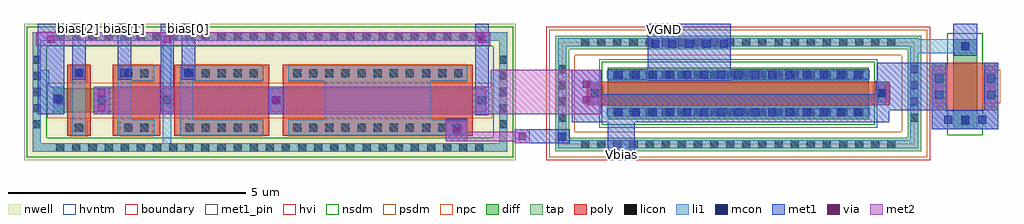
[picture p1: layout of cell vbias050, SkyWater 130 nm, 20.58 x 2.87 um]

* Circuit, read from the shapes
.subckt vbias050 VGND VPWR Vbias bias[0] bias[1] bias[2]
XM1 VGND Vbias Vbias VGND sky130_fd_pr__nfet_g5v0d10v5 w=5.5 l=0.5
XM2 VGND Vbias Vbias VGND sky130_fd_pr__nfet_01v8 w=0.5 l=1
XM3 Vbias bias[2] VPWR VPWR sky130_fd_pr__pfet_01v8 w=0.5 l=0.5
XM4 VPWR bias[1] Vbias VPWR sky130_fd_pr__pfet_01v8 w=0.5 l=1
XM5 Vbias bias[0] VPWR VPWR sky130_fd_pr__pfet_01v8 w=0.5 l=2
XM6 VPWR VGND Vbias VPWR sky130_fd_pr__pfet_01v8 w=0.5 l=4
.ends

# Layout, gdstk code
from math import pi, radians
import gdstk
lib = gdstk.Library(unit=1e-6, precision=1e-09)
def R(c, l, rs):  # rectangles x0, y0, x1, y1
    for r in rs: c.add(gdstk.rectangle(r[:2], r[2:], *l))
def A(c, l, x, y, w, h, nx, ny, dx, dy):  # array of equal rectangles
    R(c, l, [(x+i*dx, y+j*dy, x+i*dx+w, y+j*dy+h) for i in range(nx) for j in range(ny)])
nwell = (64, 20)
diff = (65, 20)
tap = (65, 44)
poly = (66, 20)
licon = (66, 44)
li1 = (67, 20)
mcon = (67, 44)
met1_pin = (68, 16)
met1 = (68, 20)
via = (68, 44)
met2 = (69, 20)
hvi = (75, 20)
nsdm = (93, 44)
psdm = (94, 20)
npc = (95, 20)
hvntm = (125, 20)
boundary = (235, 4)

sky130_fd_pr__nfet_g5v0d = lib.new_cell('sky130_fd_pr__nfet_g5v0d10v5_MBEGV2')
R(sky130_fd_pr__nfet_g5v0d, diff, [(-0.54,-2.75,0.54,2.75)])
R(sky130_fd_pr__nfet_g5v0d, tap, [(-1.22,-3.86,1.22,-3.57), (-1.22,-3.57,-0.93,3.57), (0.93,-3.57,1.22,3.57), (-1.22,3.57,1.22,3.86)])
R(sky130_fd_pr__nfet_g5v0d, poly, [(-0.25,-3.19,0.25,3.19)])
A(sky130_fd_pr__nfet_g5v0d, licon, -0.595, -3.8, 0.17, 0.17, 4, 2, 0.34, 7.43)
A(sky130_fd_pr__nfet_g5v0d, licon, -1.16, -3.315, 0.17, 0.17, 1, 20, 0, 0.34)
A(sky130_fd_pr__nfet_g5v0d, licon, 0.99, -3.315, 0.17, 0.17, 1, 20, 0, 0.34)
A(sky130_fd_pr__nfet_g5v0d, licon, -0.48, -2.635, 0.17, 0.17, 1, 16, 0, 0.34)
A(sky130_fd_pr__nfet_g5v0d, licon, 0.31, -2.635, 0.17, 0.17, 1, 16, 0, 0.34)
R(sky130_fd_pr__nfet_g5v0d, licon, [(-0.085,-3.11,0.085,-2.94), (-0.085,2.94,0.085,3.11)])
R(sky130_fd_pr__nfet_g5v0d, li1, [(-1.16,-3.8,1.16,-3.63), (-1.16,-3.63,-0.99,3.63), (0.99,-3.63,1.16,3.63), (-0.25,-3.11,0.25,-2.94), (-0.48,-2.77,-0.31,2.77), (0.31,-2.77,0.48,2.77), (-0.25,2.94,0.25,3.11), (-1.16,3.63,1.16,3.8)])
A(sky130_fd_pr__nfet_g5v0d, mcon, -0.48, -2.605, 0.17, 0.17, 1, 15, 0, 0.36)
A(sky130_fd_pr__nfet_g5v0d, mcon, 0.31, -2.605, 0.17, 0.17, 1, 15, 0, 0.36)
R(sky130_fd_pr__nfet_g5v0d, mcon, [(-0.085,-3.11,0.085,-2.94), (-0.085,2.94,0.085,3.11)])
R(sky130_fd_pr__nfet_g5v0d, met1, [(-0.23,-3.14,0.23,-2.91), (-0.51,-2.75,-0.28,2.75), (0.28,-2.75,0.51,2.75), (-0.23,2.91,0.23,3.14)])
R(sky130_fd_pr__nfet_g5v0d, hvi, [(-1.405,-4.045,1.405,4.045)])
R(sky130_fd_pr__nfet_g5v0d, nsdm, [(-0.665,-2.875,0.665,2.875)])
R(sky130_fd_pr__nfet_g5v0d, psdm, [(-1.345,-3.985,1.345,-3.445), (-1.345,-3.445,-0.805,3.445), (0.805,-3.445,1.345,3.445), (-1.345,3.445,1.345,3.985)])
R(sky130_fd_pr__nfet_g5v0d, npc, [(-0.185,-3.21,0.185,-2.84), (-0.185,2.84,0.185,3.21)])
R(sky130_fd_pr__nfet_g5v0d, hvntm, [(-0.725,-2.935,0.725,2.935)])
R(sky130_fd_pr__nfet_g5v0d, boundary, [(-1.075,-3.715,1.075,3.715)])
sky130_fd_pr__nfet_g5v0d.add(gdstk.Label('G', (0,3.025), layer=67, texttype=5))
sky130_fd_pr__nfet_g5v0d.add(gdstk.Label('S', (0.395,0), layer=67, texttype=5))
sky130_fd_pr__nfet_g5v0d.add(gdstk.Label('D', (-0.395,0), layer=67, texttype=5))
sky130_fd_pr__nfet_g5v0d.add(gdstk.Label('B', (0,-3.715), layer=67, texttype=5))

vbias050 = lib.new_cell('vbias050')
R(vbias050, nwell, [(0,0,10.37,2.87)])
R(vbias050, diff, [(19.6,0.65,20.1,2.55), (0.62,1.01,9.75,1.51)])
R(vbias050, tap, [(0.18,0.18,10.19,0.35), (0.18,0.35,0.35,2.52), (10.02,0.35,10.19,2.52), (0.18,2.52,10.19,2.69)])
R(vbias050, poly, [(0.91,0.51,1.41,2.01), (1.87,0.51,2.87,2.01), (3.17,0.51,5.17,2.01), (5.46,0.51,9.46,2.01), (19.15,1.05,20.55,2.05)])
A(vbias050, licon, 0.68, 0.18, 0.17, 0.17, 27, 2, 0.34, 2.34)
A(vbias050, licon, 3.405, 0.6, 0.17, 0.17, 5, 2, 0.34, 1.15)
A(vbias050, licon, 5.675, 0.6, 0.17, 0.17, 11, 2, 0.34, 1.15)
A(vbias050, licon, 0.18, 0.67, 0.17, 0.17, 1, 5, 0, 0.34)
A(vbias050, licon, 10.02, 0.67, 0.17, 0.17, 1, 5, 0, 0.34)
R(vbias050, licon, [(1.075,0.6,1.245,0.77), (2.115,0.6,2.285,0.77), (2.455,0.6,2.625,0.77), (19.765,0.74,19.935,0.91), (0.68,1.175,0.85,1.345), (1.555,1.175,1.725,1.345), (2.935,1.175,3.105,1.345), (9.52,1.175,9.69,1.345), (5.23,1.18,5.4,1.35), (19.215,1.295,19.385,1.465), (20.315,1.295,20.485,1.465), (19.215,1.635,19.385,1.805), (20.315,1.635,20.485,1.805), (1.075,1.75,1.245,1.92), (2.115,1.75,2.285,1.92), (2.455,1.75,2.625,1.92), (19.765,2.315,19.935,2.485)])
R(vbias050, li1, [(0.18,0.18,10.19,0.35), (0.18,0.35,0.35,0.97), (2.93,0.35,3.11,2.52), (10.02,0.35,10.19,0.97), (11.26,0.41,11.43,0.58), (1.02,0.52,1.3,2), (1.98,0.52,2.76,0.85), (3.28,0.52,5.06,0.85), (5.57,0.52,9.35,0.85), (19.15,0.65,20.55,1.05), (1.98,0.85,2.26,1.67), (3.28,0.85,3.56,1.67), (6.34,0.85,8.58,1.67), (0.18,0.97,0.85,1.55), (1.47,0.97,1.81,1.55), (5.19,0.97,5.44,1.55), (9.52,0.97,10.19,1.55), (19.15,1.05,19.45,2.05), (20.25,1.05,20.55,2.05), (0.18,1.55,0.535,1.9), (9.84,1.55,10.19,1.9), (1.98,1.67,2.76,2), (3.28,1.67,5.06,2), (5.57,1.67,9.35,2), (0.18,1.9,0.35,2.52), (10.02,1.9,10.19,2.52), (18.7,2.25,20.1,2.55), (13.19,2.37,14.88,2.54), (0.18,2.52,10.19,2.69)])
A(vbias050, mcon, 19.405, 0.765, 0.17, 0.17, 3, 1, 0.36, 0)
A(vbias050, mcon, 13.23, 2.37, 0.17, 0.17, 5, 1, 0.36, 0)
R(vbias050, mcon, [(11.26,0.41,11.43,0.58), (9.04,0.595,9.21,0.765), (1.555,1.175,1.725,1.345), (5.225,1.175,5.395,1.345), (9.575,1.175,9.745,1.345), (2.935,1.185,3.105,1.355), (0.625,1.205,0.795,1.375), (1.075,1.76,1.245,1.93), (2.035,1.76,2.205,1.93), (3.385,1.76,3.555,1.93), (19.765,2.315,19.935,2.485)])
R(vbias050, met1_pin, [(12.31,0,12.88,0.22), (13.17,2.65,13.86,2.87), (0.29,2.69,0.85,2.87), (1.02,2.69,1.3,2.87), (1.98,2.69,2.26,2.87), (3.33,2.69,3.61,2.87)])
R(vbias050, met1, [(12.31,0,12.88,0.8), (10.35,0.35,11.51,0.65), (8.9,0.4,9.35,0.87), (19.15,0.65,20.55,1.05), (11.55,0.8,18.25,1.05), (9.52,0.94,9.8,2.87), (0.29,0.97,0.85,2.87), (1.47,0.97,1.81,1.55), (2.88,0.97,3.16,2.87), (5.14,0.97,5.49,1.55), (11.55,1.05,19.45,1.39), (20.25,1.05,20.55,2.05), (11.55,1.39,12.17,1.9), (17.96,1.39,19.45,1.67), (13.16,1.67,14.91,2.87), (18,1.67,19.45,2.05), (1.02,1.69,1.3,2.87), (1.98,1.69,2.26,2.87), (3.33,1.69,3.61,2.87), (19.6,2.2,20.1,2.87)])
R(vbias050, via, [(10.435,0.425,10.585,0.575), (9.05,0.54,9.2,0.69), (1.565,1.025,1.715,1.175), (5.24,1.185,5.39,1.335), (11.785,1.2,11.935,1.35), (1.565,1.345,1.715,1.495), (11.785,1.52,11.935,1.67), (0.495,2.475,0.645,2.625), (2.945,2.475,3.095,2.625), (9.585,2.475,9.735,2.625)])
R(vbias050, met2, [(10.35,0.35,10.67,0.4), (8.9,0.4,10.67,0.6), (8.9,0.6,9.35,0.83), (10.35,0.6,10.67,0.65), (1.47,0.97,12.17,1.55), (9.84,1.55,12.17,1.9), (0.26,2.41,9.83,2.69)])
R(vbias050, nsdm, [(0.055,0.055,10.315,0.475), (0.055,0.475,0.475,2.395), (9.895,0.475,10.315,2.395), (19.475,0.525,20.225,2.675), (0.055,2.395,10.315,2.815)])
R(vbias050, psdm, [(0.495,0.885,9.875,1.635)])
R(vbias050, npc, [(0.975,0.5,1.345,0.87), (2.015,0.5,2.725,0.87), (3.305,0.5,5.035,0.87), (5.575,0.5,9.345,0.87), (19.115,1.195,19.485,1.905), (20.215,1.195,20.585,1.905), (0.975,1.65,1.345,2.02), (2.015,1.65,2.725,2.02), (3.305,1.65,5.035,2.02), (5.575,1.65,9.345,2.02)])
vbias050.add(gdstk.Reference(sky130_fd_pr__nfet_g5v0d, (15.065,1.405), rotation=3*pi/2))
vbias050.add(gdstk.Label('Vbias', (12.595,0.11), layer=68, texttype=5))
vbias050.add(gdstk.Label('VGND', (13.515,2.76), layer=68, texttype=5))
vbias050.add(gdstk.Label('bias[0]', (3.47,2.78), layer=68, texttype=5))
vbias050.add(gdstk.Label('bias[1]', (2.12,2.78), layer=68, texttype=5))
vbias050.add(gdstk.Label('bias[2]', (1.16,2.78), layer=68, texttype=5))
vbias050.add(gdstk.Label('VPWR', (0.57,2.78), layer=68, texttype=5))

lib.write_gds('vbias050.gds')
